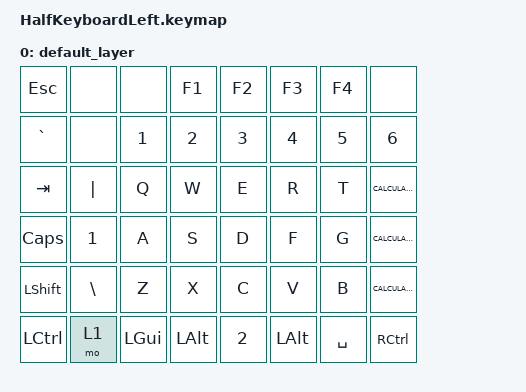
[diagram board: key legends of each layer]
// This file was generated from a template. Edit it to match your keyboard.
// See https://zmk.dev/docs/development/hardware-integration/new-shield for more instructions.

#include <behaviors.dtsi>
#include <dt-bindings/zmk/keys.h>
#include <dt-bindings/zmk/bt.h>


/ {
    behaviors {
        studio_unlock: studio_unlock {
            compatible = "zmk,behavior-studio-unlock";
        };
    };

    combos {
        compatible = "zmk,combos";
        combo_studio {
            timeout-ms = <50>;
            key-positions = <0 16>;   /* ESC (row0,col0) + TAB (row2,col0) */
            bindings = <&studio_unlock>;
        };

        combo_bt_clear {
        timeout-ms = <50>;
        key-positions = <0 8>;    /* ESC + ` */
        bindings = <&bt BT_CLR>;
    };
    };

    // Define a default keymap here.
    // See https://zmk.dev/docs/development/hardware-integration/new-shield#default-keymap.
    keymap {
    compatible = "zmk,keymap";

    default_layer {
            bindings = <
                /* Row 0 */
                &kp ESC       &none            &none     &kp F1    &kp F2        &kp F3     &kp F4      &none

                /* Row 1 */
                &kp GRAVE     &none            &kp N1    &kp N2    &kp N3        &kp N4     &kp N5       &kp N6

                /* Row 2 */   /* Red */
                &kp TAB       &kp PIPE         &kp Q     &kp W     &kp E         &kp R      &kp T       &kp K_CALCULATOR

                /* Row 3 */   /* Blue */
                &kp CAPS      &kp N1           &kp A     &kp S     &kp D         &kp F      &kp G       &kp K_CALCULATOR

                /* Row 4 */
                &kp LSHFT     &kp BACKSLASH    &kp Z     &kp X     &kp C         &kp V      &kp B       &kp K_CALCULATOR

                /* Row 5 */                                        /* Rocket */  /* Fn */               /* Ctrl */
                &kp LCTRL     &mo 1            &kp LGUI  &kp LALT  &kp N2        &kp LALT   &kp SPACE   &kp RCTRL
            >;
    };
};
};
